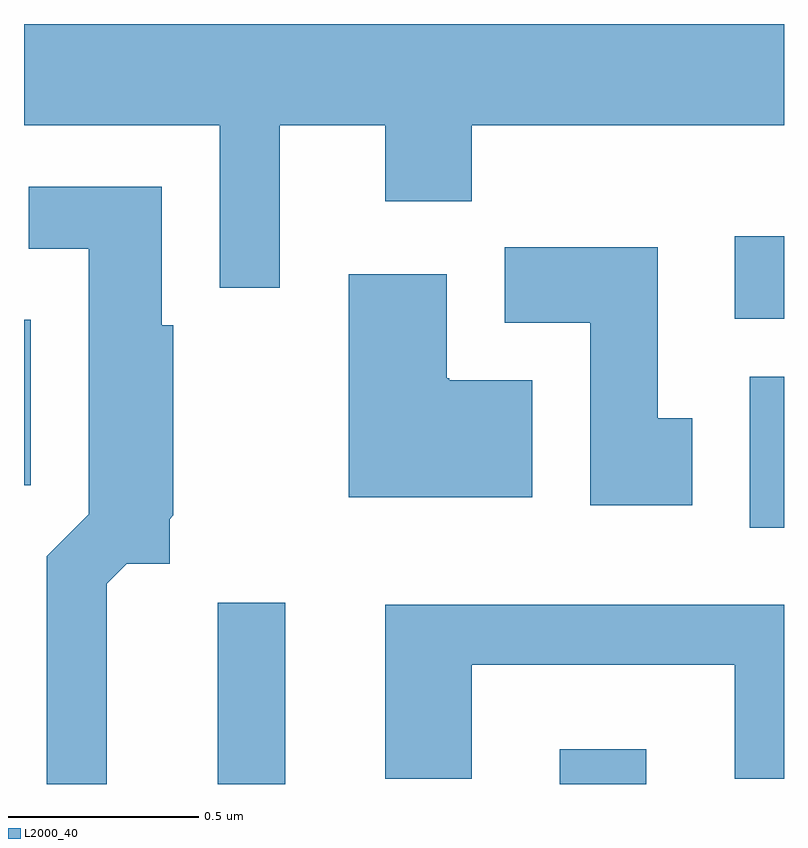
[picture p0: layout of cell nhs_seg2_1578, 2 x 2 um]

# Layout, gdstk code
import gdstk
lib = gdstk.Library(unit=1e-6, precision=1e-09)
def R(c, l, rs):  # rectangles x0, y0, x1, y1
    for r in rs: c.add(gdstk.rectangle(r[:2], r[2:], *l))
def P(c, l, *ps):  # polygons
    for p in ps: c.add(gdstk.Polygon(p, *l))
L2000_40 = (2000, 40)

nhs_seg2_1578 = lib.new_cell('nhs_seg2_1578')
R(nhs_seg2_1578, L2000_40, [(197.121,1048.802,197.299,1049.279), (198.021,1048.802,198.249,1048.894), (198.521,1049.476,198.611,1049.874), (196.611,1049.588,196.629,1050.024), (198.481,1050.026,198.611,1050.244)])
P(nhs_seg2_1578, L2000_40, [(197.284,1050.536),(197.561,1050.536),(197.561,1050.336),(197.789,1050.336),(197.789,1050.536),(198.611,1050.536),(198.611,1050.802),(196.611,1050.802),(196.611,1050.536),(197.126,1050.536),(197.126,1050.108),(197.284,1050.108)],
  [(196.829,1049.329),(196.882,1049.381),(196.994,1049.381),(196.994,1049.499),(197.004,1049.509),(197.004,1050.009),(196.974,1050.009),(196.974,1050.374),(196.623,1050.374),(196.623,1050.211),(196.781,1050.211),(196.781,1049.512),(196.671,1049.402),(196.671,1048.802),(196.829,1048.802)],
  [(198.369,1049.764),(198.279,1049.764),(198.279,1050.214),(197.876,1050.214),(197.876,1050.016),(198.101,1050.016),(198.101,1049.536),(198.369,1049.536)],
  [(197.949,1049.864),(197.73,1049.864),(197.73,1049.87),(197.724,1049.87),(197.724,1050.144),(197.466,1050.144),(197.466,1049.556),(197.949,1049.556)],
  [(197.789,1049.116),(198.481,1049.116),(198.481,1048.816),(198.611,1048.816),(198.611,1049.274),(197.561,1049.274),(197.561,1048.816),(197.789,1048.816)])

lib.write_gds('nhs_seg2_1578.gds')
